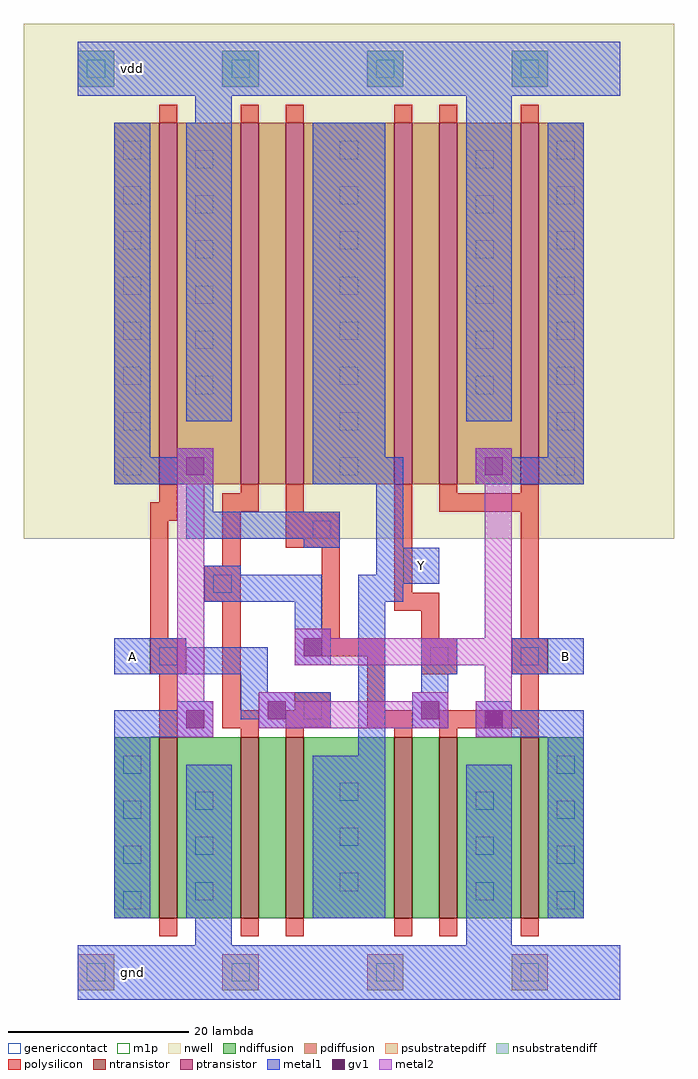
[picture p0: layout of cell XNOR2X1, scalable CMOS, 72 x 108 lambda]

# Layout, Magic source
magic
tech scmos
<< nwell >>
rect -8 48 64 105
<< ntransistor >>
rect 7 6 9 26
rect 16 6 18 26
rect 21 6 23 26
rect 33 6 35 26
rect 38 6 40 26
rect 47 6 49 26
<< ptransistor >>
rect 7 54 9 94
rect 16 54 18 94
rect 21 54 23 94
rect 33 54 35 94
rect 38 54 40 94
rect 47 54 49 94
<< ndiffusion >>
rect 2 6 7 26
rect 9 6 16 26
rect 18 6 21 26
rect 23 6 33 26
rect 35 6 38 26
rect 40 6 47 26
rect 49 6 54 26
<< pdiffusion >>
rect 2 54 7 94
rect 9 54 16 94
rect 18 54 21 94
rect 23 54 33 94
rect 35 54 38 94
rect 40 54 47 94
rect 49 54 54 94
<< psubstratepdiff >>
rect -2 -2 2 2
rect 14 -2 18 2
rect 30 -2 34 2
rect 46 -2 50 2
<< nsubstratendiff >>
rect -2 98 2 102
rect 14 98 18 102
rect 30 98 34 102
rect 46 98 50 102
<< polysilicon >>
rect 7 94 9 96
rect 16 94 18 96
rect 21 94 23 96
rect 33 94 35 96
rect 38 94 40 96
rect 47 94 49 96
rect 7 52 9 54
rect 16 53 18 54
rect 6 50 9 52
rect 14 51 18 53
rect 21 51 23 54
rect 6 37 8 50
rect 14 45 16 51
rect 21 47 27 51
rect 12 41 16 45
rect 6 33 10 37
rect 7 26 9 33
rect 14 29 16 41
rect 25 37 27 47
rect 33 42 35 54
rect 38 53 40 54
rect 47 53 49 54
rect 38 51 49 53
rect 33 40 38 42
rect 36 37 38 40
rect 47 37 49 51
rect 25 35 32 37
rect 22 29 26 31
rect 14 27 18 29
rect 16 26 18 27
rect 21 27 26 29
rect 30 29 32 35
rect 36 33 40 37
rect 46 33 50 37
rect 47 29 49 33
rect 30 27 35 29
rect 21 26 23 27
rect 33 26 35 27
rect 38 27 49 29
rect 38 26 40 27
rect 47 26 49 27
rect 7 4 9 6
rect 16 4 18 6
rect 21 4 23 6
rect 33 4 35 6
rect 38 4 40 6
rect 47 4 49 6
<< genericcontact >>
rect -1 99 1 101
rect 15 99 17 101
rect 31 99 33 101
rect 47 99 49 101
rect 3 90 5 92
rect 11 89 13 91
rect 27 90 29 92
rect 42 89 44 91
rect 51 90 53 92
rect 3 85 5 87
rect 11 84 13 86
rect 27 85 29 87
rect 42 84 44 86
rect 51 85 53 87
rect 3 80 5 82
rect 11 79 13 81
rect 27 80 29 82
rect 42 79 44 81
rect 51 80 53 82
rect 3 75 5 77
rect 11 74 13 76
rect 27 75 29 77
rect 42 74 44 76
rect 51 75 53 77
rect 3 70 5 72
rect 11 69 13 71
rect 27 70 29 72
rect 42 69 44 71
rect 51 70 53 72
rect 3 65 5 67
rect 11 64 13 66
rect 27 65 29 67
rect 42 64 44 66
rect 51 65 53 67
rect 3 60 5 62
rect 27 60 29 62
rect 51 60 53 62
rect 3 55 5 57
rect 27 55 29 57
rect 51 55 53 57
rect 24 48 26 50
rect 13 42 15 44
rect 7 34 9 36
rect 37 34 39 36
rect 47 34 49 36
rect 23 28 25 30
rect 3 22 5 24
rect 51 22 53 24
rect 3 17 5 19
rect 11 18 13 20
rect 27 19 29 21
rect 42 18 44 20
rect 51 17 53 19
rect 3 12 5 14
rect 11 13 13 15
rect 27 14 29 16
rect 42 13 44 15
rect 51 12 53 14
rect 3 7 5 9
rect 11 8 13 10
rect 27 9 29 11
rect 42 8 44 10
rect 51 7 53 9
rect -1 -1 1 1
rect 15 -1 17 1
rect 31 -1 33 1
rect 47 -1 49 1
<< metal1 >>
rect -2 97 58 103
rect 11 94 15 97
rect 2 57 6 94
rect 10 61 15 94
rect 9 57 13 58
rect 2 54 13 57
rect 24 57 32 94
rect 41 61 46 97
rect 42 57 46 58
rect 50 57 54 94
rect 24 54 34 57
rect 42 54 54 57
rect 10 51 13 54
rect 10 48 27 51
rect 23 47 27 48
rect 31 47 34 54
rect 12 44 16 45
rect 31 44 38 47
rect 12 41 25 44
rect 22 38 25 41
rect 29 43 38 44
rect 29 41 34 43
rect 2 36 10 37
rect 2 33 19 36
rect 22 34 26 38
rect 16 31 19 33
rect 9 29 13 30
rect 2 26 13 29
rect 16 28 26 31
rect 18 27 26 28
rect 2 6 6 26
rect 29 24 32 41
rect 36 33 40 37
rect 46 33 54 37
rect 36 31 39 33
rect 35 27 39 31
rect 42 29 46 30
rect 42 26 54 29
rect 10 6 15 23
rect 24 6 32 24
rect 11 3 15 6
rect 41 3 46 23
rect 50 6 54 26
rect -2 -3 58 3
<< metal2 >>
rect 9 54 13 58
rect 42 54 46 58
rect 9 30 12 54
rect 22 37 26 38
rect 43 37 46 54
rect 22 34 46 37
rect 18 30 22 31
rect 35 30 39 31
rect 43 30 46 34
rect 9 26 13 30
rect 18 27 39 30
rect 42 26 46 30
<< gv1 >>
rect 10 55 12 57
rect 43 55 45 57
rect 23 35 25 37
rect 10 27 12 29
rect 19 28 21 30
rect 36 28 38 30
rect 43 27 45 29
<< m1p >>
rect 34 43 38 47
rect 2 33 6 37
rect 50 33 54 37
<< labels >>
rlabel metal1 4 35 4 35 6 A
rlabel metal1 52 35 52 35 6 B
rlabel metal1 4 0 4 0 8 gnd
rlabel metal1 4 100 4 100 6 vdd
rlabel metal1 36 45 36 45 6 Y
<< end >>
